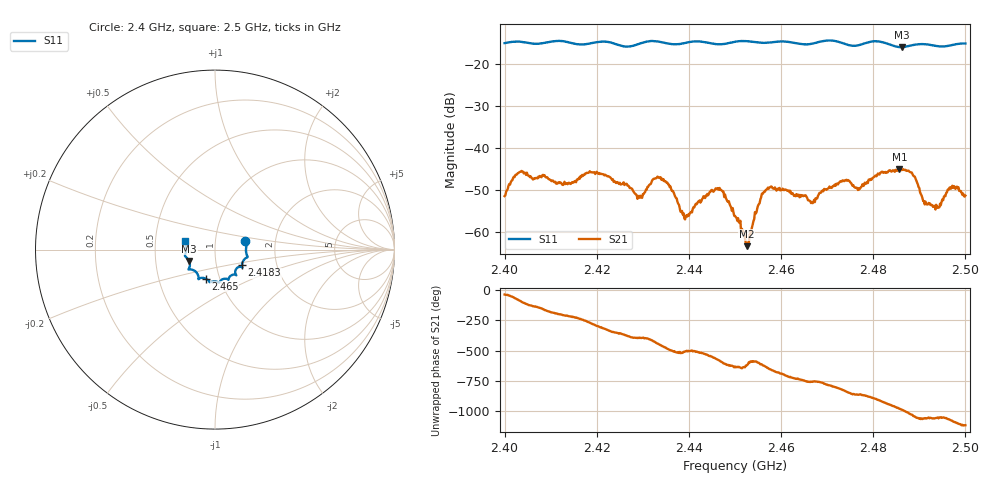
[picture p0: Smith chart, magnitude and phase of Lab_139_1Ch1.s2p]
# Hz S RI R 50
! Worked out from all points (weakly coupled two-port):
!   601 points, 2.4 GHz to 2.5 GHz, reference 50 ohm
!   highest |S21| = -45.06 dB at 2.4857 GHz (marker M1); lowest = -63.4 dB at 2.4525 GHz (marker M2)
!   lowest |S11| = -16.1 dB at 2.4862 GHz (marker M3), VSWR 1.37, Z = 37.1 - j4.83 ohm
!   |S11| at or under -10 dB: start of sweep to end of sweep
!   S12 and S22 are empty: the file has one direction only
!   S11 on the Smith chart (normalised r, x): 2.4 GHz: 1.40, +0.13; 2.4183 GHz: 1.33, -0.24; 2.465 GHz: 0.86, -0.29; 2.5 GHz: 0.71, +0.07
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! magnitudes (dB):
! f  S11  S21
! 2.4 GHz  -15.1  -51.5
! 2.4035 GHz  -14.8  -45.7
! 2.4167 GHz  -15.4  -46.9
! 2.4183 GHz  -15.2  -45.8
! 2.4293 GHz  -15.2  -51.9
! 2.4333 GHz  -14.7  -47.0
! 2.4392 GHz  -15.1  -57.0
! 2.4462 GHz  -15.4  -49.9
! 2.45 GHz  -14.8  -56.2
! 2.4525 GHz  -14.6  -63.4
! 2.4567 GHz  -15.0  -50.0
! 2.465 GHz  -15.4  -51.3
! 2.4667 GHz  -15.3  -52.9
! 2.473 GHz  -15.0  -48.0
! 2.4833 GHz  -15.3  -45.5
! 2.4857 GHz  -16.0  -45.1
! 2.4862 GHz  -16.1  -45.3
! 2.4887 GHz  -15.6  -46.6
! 2.4917 GHz  -15.4  -53.5
! 2.494 GHz  -15.8  -54.3
! 2.4972 GHz  -15.5  -49.0
! 2.5 GHz  -15.2  -51.4
